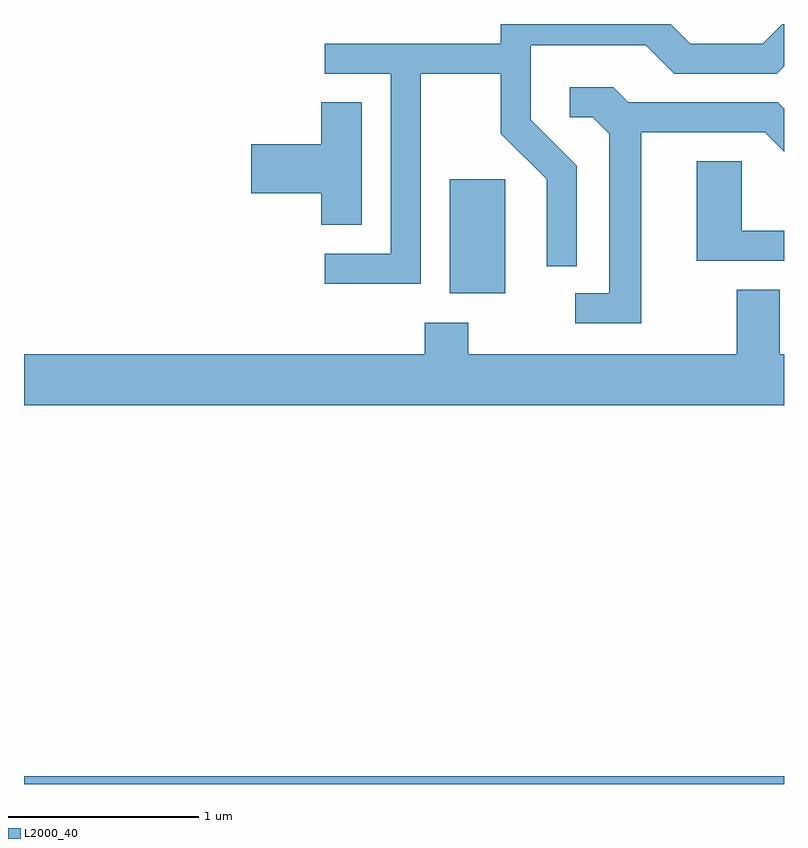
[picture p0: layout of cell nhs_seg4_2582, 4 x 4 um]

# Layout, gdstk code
import gdstk
lib = gdstk.Library(unit=1e-6, precision=1e-09)
def R(c, l, rs):  # rectangles x0, y0, x1, y1
    for r in rs: c.add(gdstk.rectangle(r[:2], r[2:], *l))
def P(c, l, *ps):  # polygons
    for p in ps: c.add(gdstk.Polygon(p, *l))
L2000_40 = (2000, 40)

nhs_seg4_2582 = lib.new_cell('nhs_seg4_2582')
R(nhs_seg4_2582, L2000_40, [(259.611,1385.982,263.611,1386.024), (261.851,1388.566,262.144,1389.164)])
P(nhs_seg4_2582, L2000_40, [(261.699,1389.721),(262.121,1389.721),(262.121,1389.404),(262.361,1389.164),(262.361,1388.708),(262.519,1388.708),(262.519,1389.237),(262.279,1389.477),(262.279,1389.871),(262.884,1389.871),(263.034,1389.721),(263.572,1389.721),(263.611,1389.76),(263.611,1389.982),(263.602,1389.982),(263.499,1389.879),(263.117,1389.879),(263.014,1389.982),(262.121,1389.982),(262.121,1389.879),(261.193,1389.879),(261.193,1389.721),(261.541,1389.721),(261.541,1388.774),(261.193,1388.774),(261.193,1388.616),(261.699,1388.616)],
  [(262.859,1389.411),(263.509,1389.411),(263.611,1389.309),(263.611,1389.535),(263.577,1389.569),(262.792,1389.569),(262.712,1389.649),(262.483,1389.649),(262.483,1389.491),(262.604,1389.491),(262.691,1389.404),(262.691,1388.564),(262.513,1388.564),(262.513,1388.406),(262.859,1388.406)],
  [(261.389,1389.569),(261.176,1389.569),(261.176,1389.349),(260.806,1389.349),(260.806,1389.091),(261.176,1389.091),(261.176,1388.926),(261.389,1388.926)],
  [(263.611,1388.894),(263.389,1388.894),(263.389,1389.259),(263.151,1389.259),(263.151,1388.736),(263.611,1388.736)],
  [(263.361,1388.584),(263.361,1388.244),(261.949,1388.244),(261.949,1388.409),(261.721,1388.409),(261.721,1388.244),(259.611,1388.244),(259.611,1387.976),(263.611,1387.976),(263.611,1388.244),(263.589,1388.244),(263.589,1388.584)])

lib.write_gds('nhs_seg4_2582.gds')
